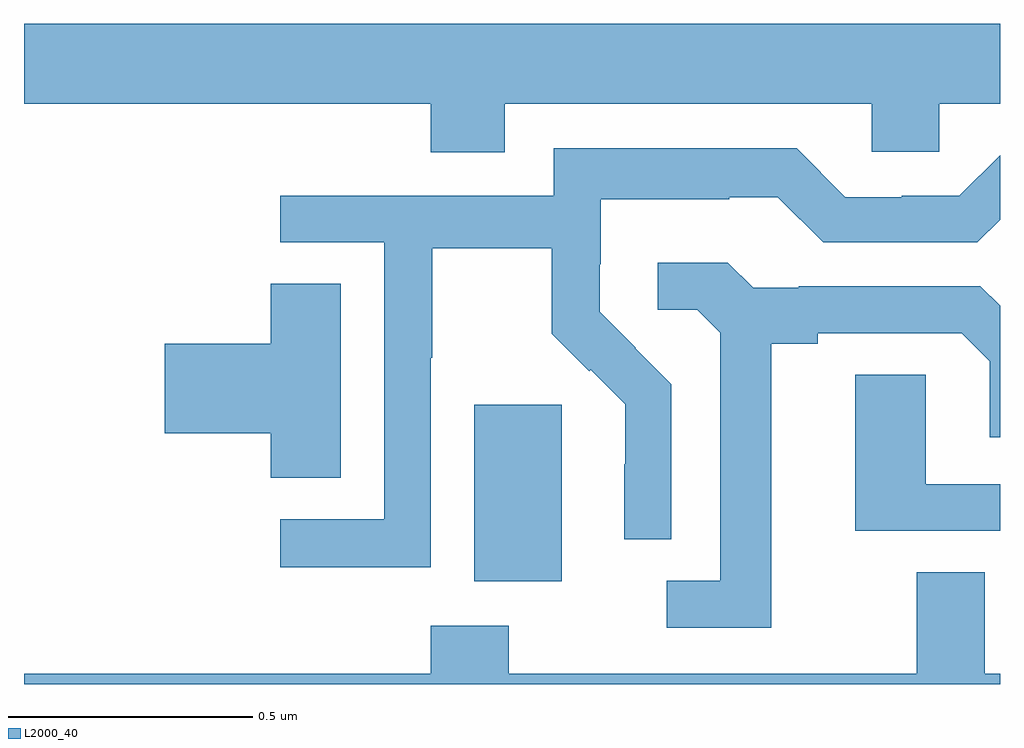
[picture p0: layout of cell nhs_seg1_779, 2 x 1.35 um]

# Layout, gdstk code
import gdstk
lib = gdstk.Library(unit=1e-6, precision=1e-09)
def R(c, l, rs):  # rectangles x0, y0, x1, y1
    for r in rs: c.add(gdstk.rectangle(r[:2], r[2:], *l))
def P(c, l, *ps):  # polygons
    for p in ps: c.add(gdstk.Polygon(p, *l))
L2000_40 = (2000, 40)

nhs_seg1_779 = lib.new_cell('nhs_seg1_779')
R(nhs_seg1_779, L2000_40, [(120.923,561.41,121.102,561.771)])
P(nhs_seg1_779, L2000_40, [(120.985,562.388),(121.737,562.388),(121.737,562.29),(121.875,562.29),(121.875,562.388),(122,562.388),(122,562.552),(120,562.552),(120,562.388),(120.833,562.388),(120.833,562.289),(120.985,562.289)],
  [(120.834,561.868),(120.837,561.868),(120.837,562.092),(121.081,562.092),(121.081,561.917),(121.158,561.84),(121.161,561.843),(121.232,561.773),(121.232,561.65),(121.23,561.65),(121.23,561.496),(121.326,561.496),(121.326,561.814),(121.253,561.887),(121.254,561.888),(121.18,561.962),(121.18,562.059),(121.182,562.059),(121.182,562.193),(121.445,562.193),(121.445,562.197),(121.545,562.197),(121.638,562.104),(121.953,562.104),(122,562.151),(122,562.283),(121.917,562.2),(121.799,562.2),(121.799,562.197),(121.683,562.197),(121.583,562.297),(121.086,562.297),(121.086,562.2),(120.525,562.2),(120.525,562.104),(120.738,562.104),(120.738,561.537),(120.525,561.537),(120.525,561.439),(120.834,561.439)],
  [(121.531,561.896),(121.627,561.896),(121.627,561.918),(121.922,561.918),(121.979,561.861),(121.979,561.705),(122,561.705),(122,561.974),(121.96,562.014),(121.588,562.014),(121.588,562.011),(121.494,562.011),(121.442,562.063),(121.299,562.063),(121.299,561.966),(121.38,561.966),(121.427,561.919),(121.427,561.411),(121.317,561.411),(121.317,561.315),(121.531,561.315)],
  [(120.649,562.019),(120.506,562.019),(120.506,561.896),(120.288,561.896),(120.288,561.713),(120.506,561.713),(120.506,561.622),(120.649,561.622)],
  [(122,561.609),(121.848,561.609),(121.848,561.833),(121.703,561.833),(121.703,561.513),(122,561.513)],
  [(122,561.22),(121.969,561.22),(121.969,561.428),(121.829,561.428),(121.829,561.22),(120.993,561.22),(120.993,561.319),(120.833,561.319),(120.833,561.22),(120,561.22),(120,561.199),(122,561.199)])

lib.write_gds('nhs_seg1_779.gds')
